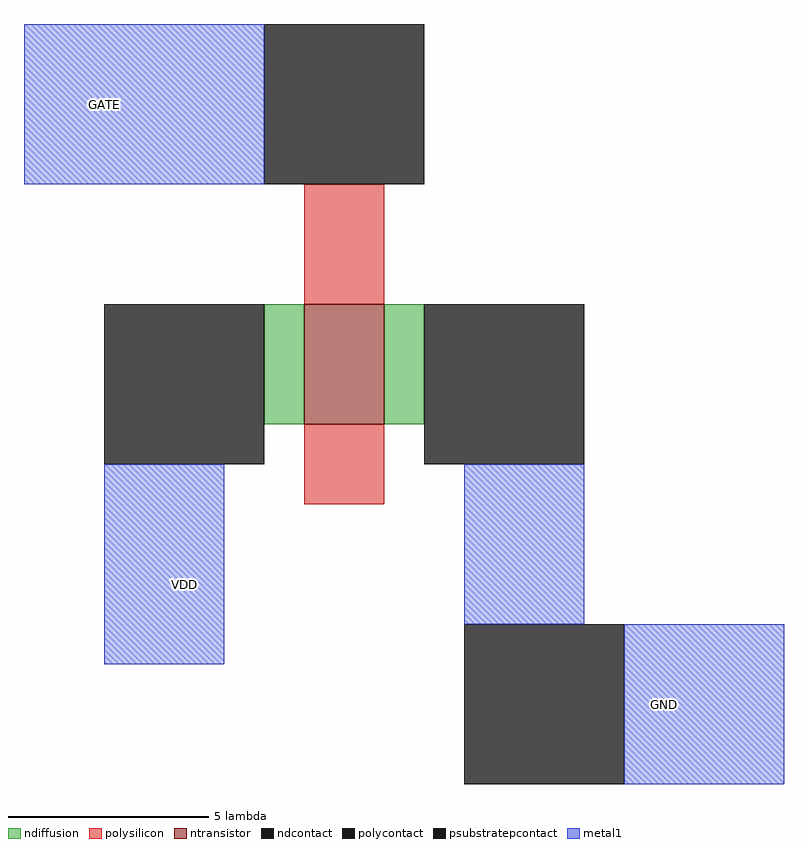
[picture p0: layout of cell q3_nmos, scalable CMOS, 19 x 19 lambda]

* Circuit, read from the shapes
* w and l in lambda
.subckt q3_nmos GATE GND VDD
M1 GND GATE VDD GND nfet w=3 l=2
.ends

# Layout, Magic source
magic
tech scmos
<< polysilicon >>
rect 0 3 2 6
rect 0 -2 2 0
<< ndiffusion >>
rect -1 0 0 3
rect 2 0 3 3
<< metal1 >>
rect -7 6 -1 10
rect -5 -6 -2 -1
rect 4 -5 7 -1
rect 8 -9 12 -5
<< ntransistor >>
rect 0 0 2 3
<< polycontact >>
rect -1 6 3 10
<< ndcontact >>
rect -5 -1 -1 3
rect 3 -1 7 3
<< psubstratepcontact >>
rect 4 -9 8 -5
<< labels >>
rlabel metal1 -5 8 -5 8 4 GATE
rlabel metal1 -3 -4 -3 -4 2 VDD
rlabel metal1 9 -7 9 -7 8 GND
<< end >>
